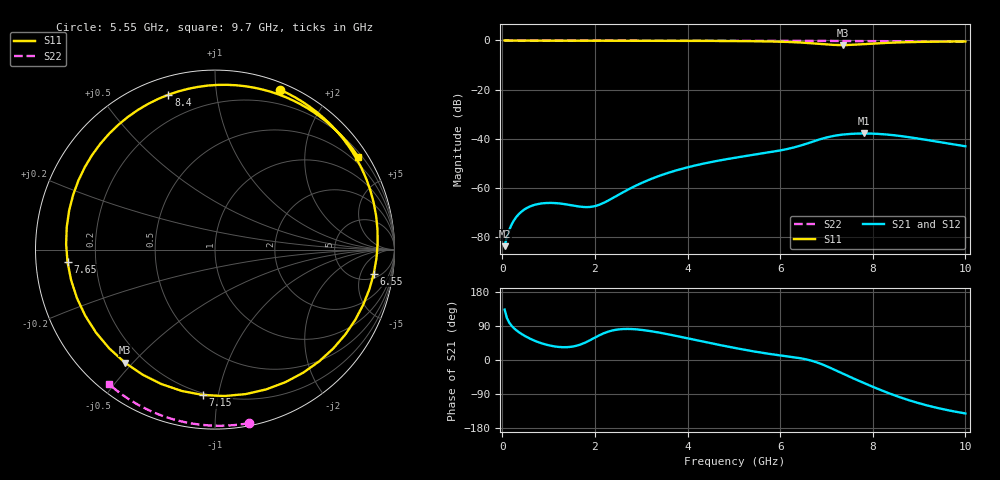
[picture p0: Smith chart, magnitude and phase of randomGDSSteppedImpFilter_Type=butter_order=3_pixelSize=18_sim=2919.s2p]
! freq	dB(S11)	phase(S11)	dB(S12)	phase(S12)
!  dB(S21)	phase(S21)	dB(S22)	phase(S22)
!S-par simulation data
#  GHz  S  DB  R 50
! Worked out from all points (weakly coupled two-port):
!   200 points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, 50 MHz to 10 GHz, reference 50 ohm
!   highest |S21| = -37.90 dB at 7.8 GHz (marker M1); lowest = -83.8 dB at 50 MHz (marker M2)
!   lowest |S11| = -1.9 dB at 7.35 GHz (marker M3), VSWR 9.27, Z = 6.63 - j23.7 ohm
!   |S11| at or under -10 dB: nowhere
!   |S22| runs from -0.4 to 0.0 dB; largest |S21 - S12| = 0
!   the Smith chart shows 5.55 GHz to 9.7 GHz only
!   S11 on the Smith chart (normalised r, x): 5.55 GHz: 0.06, +1.49; 6.55 GHz: 6, -9; 7.15 GHz: 0.19, -0.90; 7.65 GHz: 0.10, -0.04; 8.4 GHz: 0.08, +0.74; 9.7 GHz: 0.31, +3.37
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0.05  -0.01 -5.7  -83.81 133.0  -83.81 133.0  -0.00 -0.8
0.35  -0.07 -38.4  -70.88 74.1  -70.88 74.1  -0.01 -5.3
0.75  -0.09 -76.6  -66.72 48.3  -66.72 48.3  -0.01 -11.3
1.25  -0.10 -113.8  -66.44 34.1  -66.44 34.1  -0.02 -18.8
1.75  -0.11 -142.0  -67.84 43.8  -67.84 43.8  -0.03 -26.2
2.5  -0.12 -174.5  -62.99 80.6  -62.99 80.6  -0.05 -37.2
3.4  -0.14 153.0  -55.10 72.0  -55.10 72.0  -0.07 -50.0
5.05  -0.25 91.8  -47.71 31.1  -47.71 31.1  -0.11 -72.3
5.55  -0.34 67.7  -46.22 20.3  -46.22 20.3  -0.13 -78.8
6.05  -0.53 36.6  -44.63 11.2  -44.63 11.2  -0.15 -85.2
6.55  -0.97 -8.6  -42.19 1.9  -42.19 1.9  -0.17 -91.4
6.7  -1.17 -26.5  -41.25 -2.7  -41.25 -2.7  -0.18 -93.2
6.95  -1.55 -62.0  -39.78 -13.7  -39.78 -13.7  -0.19 -96.3
7.15  -1.80 -94.7  -38.91 -24.4  -38.91 -24.4  -0.21 -98.7
7.35  -1.88 -128.6  -38.35 -35.7  -38.35 -35.7  -0.22 -101.1
7.65  -1.67 -175.2  -37.95 -52.3  -37.95 -52.3  -0.24 -104.6
7.8  -1.50 165.0  -37.90 -60.3  -37.90 -60.3  -0.25 -106.4
8.35  -0.94 110.6  -38.40 -87.8  -38.40 -87.8  -0.29 -112.8
8.4  -0.90 106.8  -38.50 -90.1  -38.50 -90.1  -0.29 -113.4
8.95  -0.61 70.6  -39.88 -112.4  -39.88 -112.4  -0.34 -119.7
9.7  -0.44 32.8  -42.20 -134.4  -42.20 -134.4  -0.41 -128.3
10  -0.42 19.8  -43.12 -141.0  -43.12 -141.0  -0.44 -131.7
